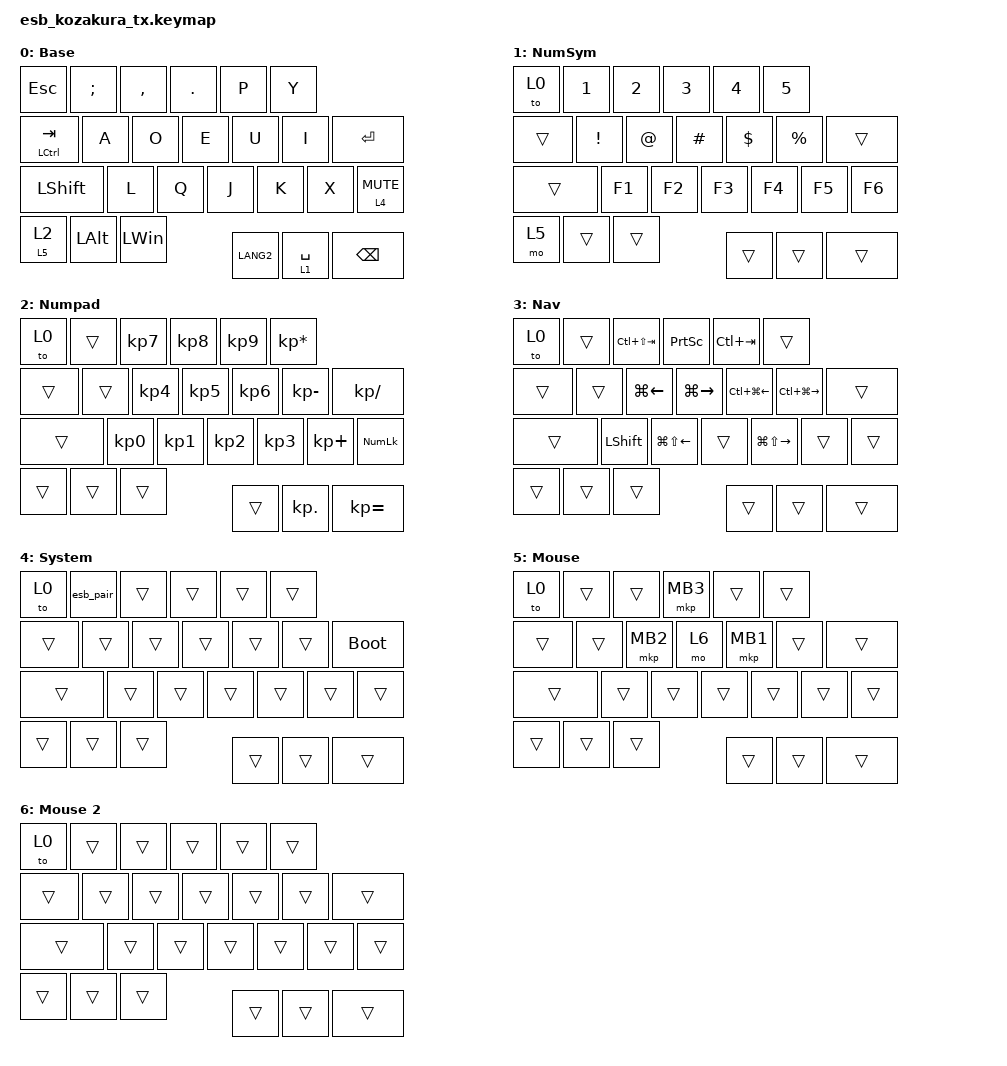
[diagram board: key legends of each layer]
/*
 * Left half (26 keys) of the koZakura48 keymap, ported from
 * zmk-config-koZakura (config/koZakura48.keymap). The original is
 * a single 51-position keymap for both halves; the bindings below
 * are the left half's positions, in the original order.
 *
 * Simplifications for this ESB test config:
 * - The BT layer (layer 4) keeps its shape, but the &bt bindings
 *   are &trans here (BLE is disabled, same as esb_nickey_tx);
 *   &bootloader on that layer is kept.
 * - No sensor-bindings: the rotary encoder is not carried over
 *   (see the shield overlay), so the encoder's volume control and
 *   the scroll sensor behaviors are omitted.
 * - The custom behaviors (to_layer_0 macro, lt_to_layer_0 and
 *   mo_tog hold-taps) and the &mt override are carried over from
 *   the original, minus the ZMK 0.3-era `label` properties.
 * - Step 2: layer 4 (System) position 1 is &esb_pair, which opens
 *   the receiver pairing window for slot 2.
 *
 * SPDX-License-Identifier: MIT
 */

#include <behaviors.dtsi>
#include <dt-bindings/zmk/keys.h>
#include <dt-bindings/zmk/pointing.h>

&mt {
    flavor = "balanced";
    quick-tap-ms = <0>;
};

/ {
    macros {
        to_layer_0: to_layer_0 {
            compatible = "zmk,behavior-macro-one-param";
            #binding-cells = <1>;
            bindings = <&to 0 &macro_param_1to1 &kp MACRO_PLACEHOLDER>;
        };
    };

    behaviors {
        lt_to_layer_0: lt_to_layer_0 {
            compatible = "zmk,behavior-hold-tap";
            #binding-cells = <2>;
            bindings = <&mo>, <&to_layer_0>;
            tapping-term-ms = <200>;
        };

        mo_tog: mo_tog {
            compatible = "zmk,behavior-hold-tap";
            #binding-cells = <2>;
            flavor = "hold-preferred";
            tapping-term-ms = <200>;
            bindings = <&mo>, <&tog>;
        };
    };

    keymap {
        compatible = "zmk,keymap";

        default_layer {
            display-name = "Base";
            bindings = <
                &kp ESCAPE  &kp SEMI  &kp COMMA  &kp DOT  &kp P  &kp Y
                &mt LCTRL TAB  &kp A  &kp O  &kp E  &kp U  &kp I  &kp ENTER
                &kp LSHIFT  &kp L  &kp Q  &kp J  &kp K  &kp X  &lt 4 C_MUTE
                &mo_tog 5 2  &kp LALT  &kp LWIN  &kp LANG2  &lt 1 SPACE  &kp BACKSPACE
            >;
        };

        layer_1 {
            display-name = "NumSym";
            bindings = <
                &to 0  &kp N1  &kp N2  &kp N3  &kp N4  &kp N5
                &trans  &kp EXCL  &kp AT  &kp HASH  &kp DLLR  &kp PRCNT  &trans
                &trans  &kp F1  &kp F2  &kp F3  &kp F4  &kp F5  &kp F6
                &mo 5  &trans  &trans  &trans  &trans  &trans
            >;
        };

        layer_2 {
            display-name = "Numpad";
            bindings = <
                &to 0  &trans  &kp KP_N7  &kp KP_N8  &kp KP_N9  &kp KP_ASTERISK
                &trans  &trans  &kp KP_N4  &kp KP_N5  &kp KP_N6  &kp KP_MINUS  &kp KP_SLASH
                &trans  &kp KP_N0  &kp KP_N1  &kp KP_N2  &kp KP_N3  &kp KP_PLUS  &kp KP_NUM
                &trans  &trans  &trans  &trans  &kp KP_DOT  &kp KP_EQUAL
            >;
        };

        layer_3 {
            display-name = "Nav";
            bindings = <
                &to 0  &trans  &kp LC(LS(TAB))  &kp PRINTSCREEN  &kp LC(TAB)  &trans
                &trans  &trans  &kp LG(LEFT_ARROW)  &kp LG(RIGHT_ARROW)  &kp LC(LG(LEFT_ARROW))  &kp LC(LG(RIGHT_ARROW))  &trans
                &trans  &kp LEFT_SHIFT  &kp LG(LS(LEFT_ARROW))  &trans  &kp LG(LS(RIGHT_ARROW))  &trans  &trans
                &trans  &trans  &trans  &trans  &trans  &trans
            >;
        };

        layer_4 {
            display-name = "System";
            bindings = <
                &to 0  &esb_pair  &trans  &trans  &trans  &trans
                &trans  &trans  &trans  &trans  &trans  &trans  &bootloader
                &trans  &trans  &trans  &trans  &trans  &trans  &trans
                &trans  &trans  &trans  &trans  &trans  &trans
            >;
        };

        layer_5 {
            display-name = "Mouse";
            bindings = <
                &to 0  &trans  &trans  &mkp MB3  &trans  &trans
                &trans  &trans  &mkp MB2  &mo 6  &mkp MB1  &trans  &trans
                &trans  &trans  &trans  &trans  &trans  &trans  &trans
                &trans  &trans  &trans  &trans  &trans  &trans
            >;
        };

        layer_6 {
            display-name = "Mouse 2";
            bindings = <
                &to 0  &trans  &trans  &trans  &trans  &trans
                &trans  &trans  &trans  &trans  &trans  &trans  &trans
                &trans  &trans  &trans  &trans  &trans  &trans  &trans
                &trans  &trans  &trans  &trans  &trans  &trans
            >;
        };
    };
};
